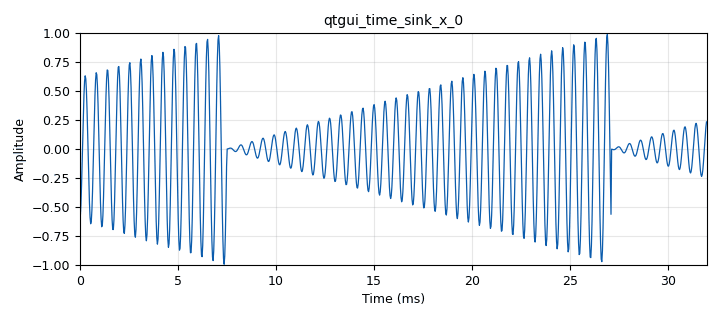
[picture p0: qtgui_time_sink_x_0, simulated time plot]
options:
  parameters:
    author: labcom
    generate_options: qt_gui
    id: multiplicar2
    output_language: python
    title: Not titled yet
  states: {}

blocks:
- name: samp_rate
  id: variable
  parameters:
    value: '32000'
  states: {}
- name: Practica32_0
  id: Practica32
  parameters:
    l_vect: '1024'
  states: {}
- name: analog_sig_source_x_0
  id: analog_sig_source_x
  parameters:
    amp: '1'
    freq: 25+26
    offset: '0'
    phase: '0'
    samp_rate: samp_rate
    type: float
    waveform: analog.GR_SAW_WAVE
  states: {}
- name: analog_sig_source_x_1
  id: analog_sig_source_x
  parameters:
    amp: '1'
    freq: '1764'
    offset: '0'
    phase: '0'
    samp_rate: samp_rate
    type: float
    waveform: analog.GR_COS_WAVE
  states: {}
- name: blocks_multiply_xx_0
  id: blocks_multiply_xx
  parameters:
    type: float
  states: {}
- name: qtgui_freq_sink_x_0
  id: qtgui_freq_sink_x
  parameters:
    bw: samp_rate
    fc: '0'
    fftsize: '1024'
    type: float
  states: {state: disabled}
- name: qtgui_time_sink_x_0
  id: qtgui_time_sink_x
  parameters:
    size: '1024'
    srate: samp_rate
    type: float
  states: {}

connections:
- [analog_sig_source_x_0, '0', blocks_multiply_xx_0, '0']
- [analog_sig_source_x_1, '0', blocks_multiply_xx_0, '1']
- [blocks_multiply_xx_0, '0', Practica32_0, '0']
- [blocks_multiply_xx_0, '0', qtgui_freq_sink_x_0, '0']
- [blocks_multiply_xx_0, '0', qtgui_time_sink_x_0, '0']

metadata:
  file_format: 1
